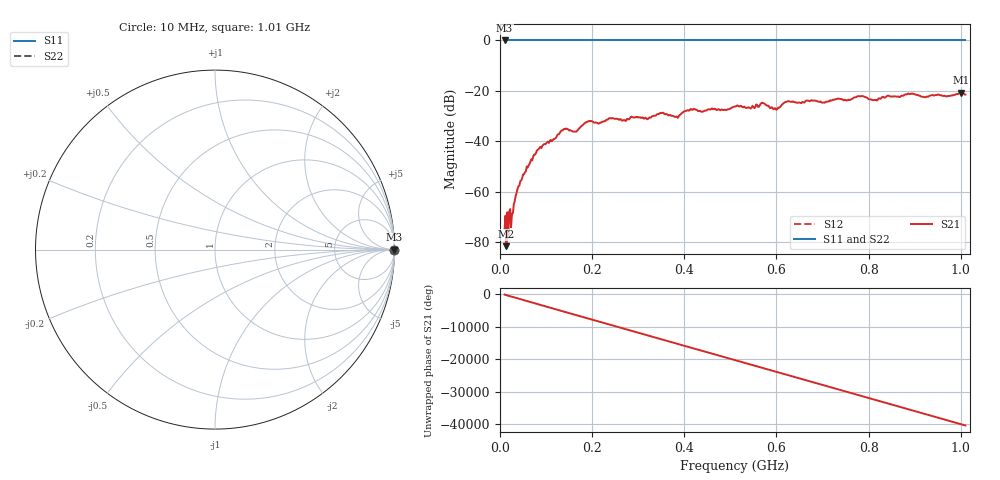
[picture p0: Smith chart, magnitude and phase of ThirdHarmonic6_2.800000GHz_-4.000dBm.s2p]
! 8/17/2025 7:17:22 AM
! C:\ANRITSUVNA\TEMP\TEMP.S2P
! CHANNEL.1
! TR.MEASUREMENT
! RAW.DATA
! RF.CORRECTION.OFF
! AVERAGING.OFF
! IF.BANDWIDTH: 5KHZ
! SWEEPTYPE:  FREQ.SWEEP(Linear)
! Reference Plane Port Info
! PORT:  PORT1  PORT2
! DISTANCE:  0  m  0  m
! TIME:  0  s  0  s
! PHASE.OFFSET:  0  deg.  0  deg.
! LOSS:  0  dB  0  dB
! REF.LOSS:  0  dB  0  dB
! REF.FREQ:  0  Hz  0  Hz
! Power Info
! POWER:  -20  dBm  -20  dBm
! EFF.POWER:  -20  dBm  -20  dBm
! SOURCE.ATTEN:  0  dB  0  dB
! TEST.ATTEN:  0  dB  0  dB
# GHZ S RI R 50.0
! FREQ.GHZ  S11RE  S11IM  S21RE  S21IM  S12RE  S12IM  S22RE  S22IM
!; PortSelection: Port_12
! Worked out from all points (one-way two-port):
!   501 points, 10 MHz to 1.01 GHz, reference 50 ohm
!   highest |S21| = -20.70 dB at 1 GHz (marker M1); lowest = -81.5 dB at 14 MHz (marker M2)
!   lowest |S11| = 0.0 dB at 10 MHz (marker M3)
!   |S11| at or under -10 dB: nowhere
!   |S22| runs from 0.0 to 0.0 dB; largest |S21 - S12| = 1.1
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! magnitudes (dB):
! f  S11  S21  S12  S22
! 10 MHz  0.0  -74.6  0.0  0.0
! 14 MHz  0.0  -81.5  0.0  0.0
! 28 MHz  0.0  -68.4  0.0  0.0
! 34 MHz  0.0  -61.5  0.0  0.0
! 42 MHz  0.0  -57.5  0.0  0.0
! 84 MHz  0.0  -43.0  0.0  0.0
! 136 MHz  0.0  -35.7  0.0  0.0
! 162 MHz  0.0  -36.1  0.0  0.0
! 178 MHz  0.0  -33.7  0.0  0.0
! 194 MHz  0.0  -31.8  0.0  0.0
! 322 MHz  0.0  -30.9  0.0  0.0
! 344 MHz  0.0  -29.2  0.0  0.0
! 384 MHz  0.0  -30.2  0.0  0.0
! 416 MHz  0.0  -27.4  0.0  0.0
! 510 MHz  0.0  -26.2  0.0  0.0
! 570 MHz  0.0  -24.7  0.0  0.0
! 598 MHz  0.0  -27.0  0.0  0.0
! 622 MHz  0.0  -24.3  0.0  0.0
! 678 MHz  0.0  -23.8  0.0  0.0
! 844 MHz  0.0  -21.9  0.0  0.0
! 1 GHz  0.0  -20.7  0.0  0.0
! 1.01 GHz  0.0  -21.4  0.0  0.0
